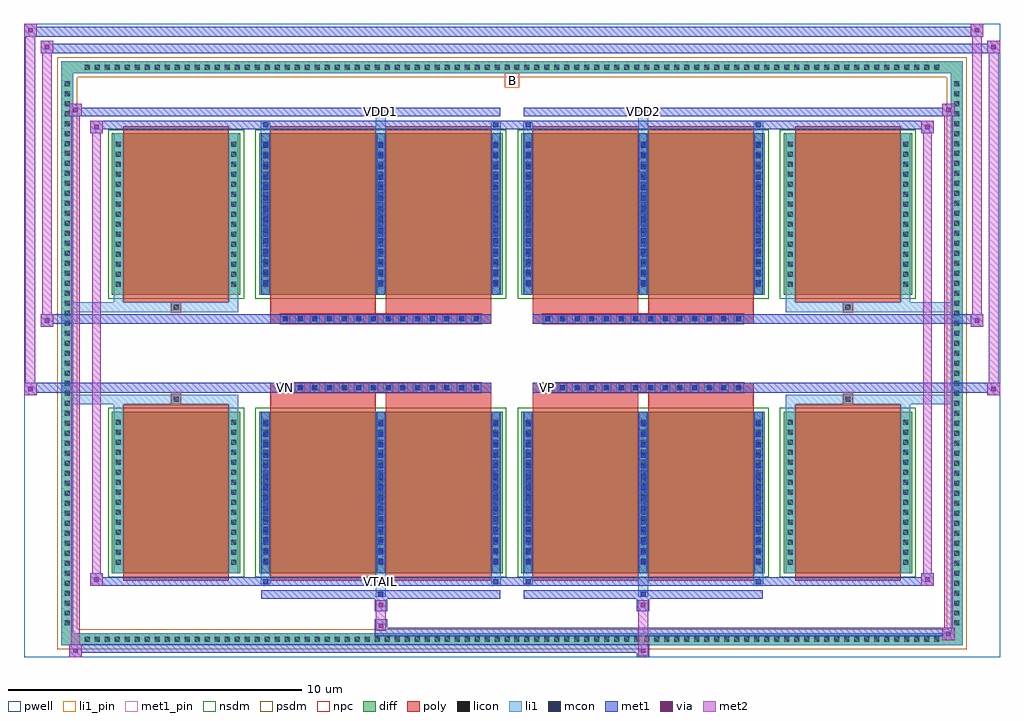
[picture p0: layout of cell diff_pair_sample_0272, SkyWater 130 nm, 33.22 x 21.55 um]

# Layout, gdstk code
import gdstk
lib = gdstk.Library(unit=1e-6, precision=5e-09)
def R(c, l, rs):  # rectangles x0, y0, x1, y1
    for r in rs: c.add(gdstk.rectangle(r[:2], r[2:], *l))
def A(c, l, x, y, w, h, nx, ny, dx, dy):  # array of equal rectangles
    R(c, l, [(x+i*dx, y+j*dy, x+i*dx+w, y+j*dy+h) for i in range(nx) for j in range(ny)])
def P(c, l, *ps):  # polygons
    for p in ps: c.add(gdstk.Polygon(p, *l))
pwell = (64, 44)
diff = (65, 20)
poly = (66, 20)
licon = (66, 44)
li1_pin = (67, 16)
li1 = (67, 20)
mcon = (67, 44)
met1_pin = (68, 16)
met1 = (68, 20)
via = (68, 44)
met2 = (69, 20)
nsdm = (93, 44)
psdm = (94, 20)
npc = (95, 20)

diff_pair_sample_0272 = lib.new_cell('diff_pair_sample_0272')
R(diff_pair_sample_0272, pwell, [(-16.61,-10.34,16.61,11.21), (-13.93,-8.53,-0.01,-0.805), (0.01,-8.53,13.93,-0.805), (-13.93,0.805,-0.01,8.53), (0.01,0.805,13.93,8.53)])
A(diff_pair_sample_0272, diff, -14.655, -9.94, 0.41, 0.41, 86, 2, 0.34, 19.47)
A(diff_pair_sample_0272, diff, -15.34, -9.385, 0.41, 0.41, 1, 55, 0, 0.34)
A(diff_pair_sample_0272, diff, 14.93, -9.385, 0.41, 0.41, 1, 55, 0, 0.34)
R(diff_pair_sample_0272, diff, [(-14.655,-9.94,14.655,-9.53), (-15.34,-9.385,-14.93,9.385), (14.93,-9.385,15.34,9.385), (-13.62,-7.485,-9.25,-1.985), (-8.61,-7.485,-0.32,-1.985), (0.32,-7.485,8.61,-1.985), (9.25,-7.485,13.62,-1.985), (-13.62,1.985,-9.25,7.485), (-8.61,1.985,-0.32,7.485), (0.32,1.985,8.61,7.485), (9.25,1.985,13.62,7.485), (-14.655,9.53,14.655,9.94)])
P(diff_pair_sample_0272, diff, [(15.34,9.94),(-15.34,9.94),(-15.34,-9.53),(-14.93,-9.53),(-14.93,9.53),(14.93,9.53),(14.93,-9.53),(-14.93,-9.53),(-15.34,-9.53),(-15.34,-9.94),(15.34,-9.94)])
A(diff_pair_sample_0272, poly, -7.88, -1.335, 0.33, 0.33, 14, 2, 0.5, 2.34)
A(diff_pair_sample_0272, poly, 1.05, -1.335, 0.33, 0.33, 14, 2, 0.5, 2.34)
R(diff_pair_sample_0272, poly, [(-13.23,-7.735,-9.64,-1.735), (-8.22,-7.735,-4.63,-1.735), (-4.3,-7.735,-0.71,-1.735), (0.71,-7.735,4.3,-1.735), (4.63,-7.735,8.22,-1.735), (9.64,-7.735,13.23,-1.735), (-11.6,-1.735,-11.27,-1.405), (-11.6,-1.735,-11.27,-1.405), (-8.22,-1.735,-4.63,-1.335), (-4.3,-1.735,-0.71,-1.335), (0.71,-1.735,4.3,-1.335), (4.63,-1.735,8.22,-1.335), (11.27,-1.735,11.6,-1.405), (11.27,-1.735,11.6,-1.405), (-8.22,-1.335,-0.71,-1.005), (0.71,-1.335,8.22,-1.005), (-8.22,1.005,-0.71,1.335), (0.71,1.005,8.22,1.335), (-8.22,1.335,-4.63,1.735), (-4.3,1.335,-0.71,1.735), (0.71,1.335,4.3,1.735), (4.63,1.335,8.22,1.735), (-11.6,1.405,-11.27,1.735), (-11.6,1.405,-11.27,1.735), (11.27,1.405,11.6,1.735), (11.27,1.405,11.6,1.735), (-13.23,1.735,-9.64,7.735), (-8.22,1.735,-4.63,7.735), (-4.3,1.735,-0.71,7.735), (0.71,1.735,4.3,7.735), (4.63,1.735,8.22,7.735), (9.64,1.735,13.23,7.735)])
A(diff_pair_sample_0272, licon, -14.535, -9.82, 0.17, 0.17, 86, 2, 0.34, 19.47)
A(diff_pair_sample_0272, licon, -15.22, -9.265, 0.17, 0.17, 1, 55, 0, 0.34)
A(diff_pair_sample_0272, licon, 15.05, -9.265, 0.17, 0.17, 1, 55, 0, 0.34)
A(diff_pair_sample_0272, licon, -13.48, -7.2, 0.17, 0.17, 1, 15, 0, 0.34)
A(diff_pair_sample_0272, licon, -9.56, -7.2, 0.17, 0.17, 1, 15, 0, 0.34)
A(diff_pair_sample_0272, licon, -8.47, -7.2, 0.17, 0.17, 3, 15, 3.92, 0.34)
A(diff_pair_sample_0272, licon, 0.46, -7.2, 0.17, 0.17, 3, 15, 3.92, 0.34)
A(diff_pair_sample_0272, licon, 9.39, -7.2, 0.17, 0.17, 1, 15, 0, 0.34)
A(diff_pair_sample_0272, licon, 13.31, -7.2, 0.17, 0.17, 1, 15, 0, 0.34)
A(diff_pair_sample_0272, licon, -7.8, -1.255, 0.17, 0.17, 14, 2, 0.5, 2.34)
A(diff_pair_sample_0272, licon, 1.13, -1.255, 0.17, 0.17, 14, 2, 0.5, 2.34)
A(diff_pair_sample_0272, licon, -13.48, 2.27, 0.17, 0.17, 1, 15, 0, 0.34)
A(diff_pair_sample_0272, licon, -9.56, 2.27, 0.17, 0.17, 1, 15, 0, 0.34)
A(diff_pair_sample_0272, licon, -8.47, 2.27, 0.17, 0.17, 3, 15, 3.92, 0.34)
A(diff_pair_sample_0272, licon, 0.46, 2.27, 0.17, 0.17, 3, 15, 3.92, 0.34)
A(diff_pair_sample_0272, licon, 9.39, 2.27, 0.17, 0.17, 1, 15, 0, 0.34)
A(diff_pair_sample_0272, licon, 13.31, 2.27, 0.17, 0.17, 1, 15, 0, 0.34)
R(diff_pair_sample_0272, licon, [(-11.52,-1.655,-11.35,-1.485), (11.35,-1.655,11.52,-1.485), (-11.52,1.485,-11.35,1.655), (11.35,1.485,11.52,1.655)])
R(diff_pair_sample_0272, li1_pin, [(-0.25,9.03,0.25,9.53)])
A(diff_pair_sample_0272, li1, -14.615, -9.9, 0.33, 0.33, 86, 2, 0.34, 19.47)
A(diff_pair_sample_0272, li1, -15.3, -9.345, 0.33, 0.33, 1, 55, 0, 0.34)
A(diff_pair_sample_0272, li1, 14.97, -9.345, 0.33, 0.33, 1, 55, 0, 0.34)
A(diff_pair_sample_0272, li1, -8.55, -7.485, 0.33, 5.5, 3, 2, 3.92, 9.47)
A(diff_pair_sample_0272, li1, 0.38, -7.485, 0.33, 5.5, 3, 2, 3.92, 9.47)
A(diff_pair_sample_0272, li1, -13.56, -7.28, 0.33, 0.33, 1, 15, 0, 0.34)
A(diff_pair_sample_0272, li1, -9.64, -7.28, 0.33, 0.33, 1, 15, 0, 0.34)
A(diff_pair_sample_0272, li1, -8.55, -7.28, 0.33, 0.33, 3, 15, 3.92, 0.34)
A(diff_pair_sample_0272, li1, 0.38, -7.28, 0.33, 0.33, 3, 15, 3.92, 0.34)
A(diff_pair_sample_0272, li1, 9.31, -7.28, 0.33, 0.33, 1, 15, 0, 0.34)
A(diff_pair_sample_0272, li1, 13.23, -7.28, 0.33, 0.33, 1, 15, 0, 0.34)
A(diff_pair_sample_0272, li1, -8.47, -7.16, 0.17, 0.17, 3, 14, 3.92, 0.36)
A(diff_pair_sample_0272, li1, -8.47, -7.16, 0.17, 4.85, 3, 2, 3.92, 9.47)
A(diff_pair_sample_0272, li1, 0.46, -7.16, 0.17, 0.17, 3, 14, 3.92, 0.36)
A(diff_pair_sample_0272, li1, 0.46, -7.16, 0.17, 4.85, 3, 2, 3.92, 9.47)
A(diff_pair_sample_0272, li1, -7.88, -1.335, 0.33, 0.33, 14, 2, 0.5, 2.34)
A(diff_pair_sample_0272, li1, 1.05, -1.335, 0.33, 0.33, 14, 2, 0.5, 2.34)
A(diff_pair_sample_0272, li1, -13.56, 2.19, 0.33, 0.33, 1, 15, 0, 0.34)
A(diff_pair_sample_0272, li1, -9.64, 2.19, 0.33, 0.33, 1, 15, 0, 0.34)
A(diff_pair_sample_0272, li1, -8.55, 2.19, 0.33, 0.33, 3, 15, 3.92, 0.34)
A(diff_pair_sample_0272, li1, 0.38, 2.19, 0.33, 0.33, 3, 15, 3.92, 0.34)
A(diff_pair_sample_0272, li1, 9.31, 2.19, 0.33, 0.33, 1, 15, 0, 0.34)
A(diff_pair_sample_0272, li1, 13.23, 2.19, 0.33, 0.33, 1, 15, 0, 0.34)
A(diff_pair_sample_0272, li1, -8.47, 2.31, 0.17, 0.17, 3, 14, 3.92, 0.36)
A(diff_pair_sample_0272, li1, 0.46, 2.31, 0.17, 0.17, 3, 14, 3.92, 0.36)
R(diff_pair_sample_0272, li1, [(-15.34,-9.94,-14.93,-9.53), (-15.34,-9.94,-14.93,-9.53), (-14.93,-9.94,14.93,-9.53), (14.93,-9.94,15.34,-9.53), (14.93,-9.94,15.34,-9.53), (-15.34,-9.53,-14.93,9.53), (14.93,-9.53,15.34,9.53), (-4.63,-8.29,-4.3,-7.485), (-4.55,-8.29,-4.38,-8.12), (4.3,-8.29,4.63,-7.485), (4.38,-8.29,4.55,-8.12), (-8.55,-7.86,-8.22,-7.485), (-8.47,-7.86,-8.3,-7.69), (-0.71,-7.86,-0.38,-7.485), (-0.63,-7.86,-0.46,-7.69), (0.38,-7.86,0.71,-7.485), (0.46,-7.86,0.63,-7.69), (8.22,-7.86,8.55,-7.485), (8.3,-7.86,8.47,-7.69), (-13.56,-7.485,-13.23,-1.985), (-9.64,-7.485,-9.31,-1.985), (9.31,-7.485,9.64,-1.985), (13.23,-7.485,13.56,-1.985), (-13.56,-1.985,-13.23,-1.405), (-9.64,-1.985,-9.31,-1.405), (9.31,-1.985,9.64,-1.405), (13.23,-1.985,13.56,-1.405), (-15.34,-1.735,-11.6,-1.405), (-13.56,-1.735,-11.6,-1.405), (-11.6,-1.735,-11.27,-1.405), (-11.27,-1.735,-9.31,-1.405), (9.31,-1.735,11.27,-1.405), (11.27,-1.735,11.6,-1.405), (11.27,-1.735,15.34,-1.405), (11.6,-1.735,13.56,-1.405), (-15.34,1.405,-11.6,1.735), (-13.56,1.405,-11.6,1.735), (-13.56,1.405,-13.23,1.985), (-11.6,1.405,-11.27,1.735), (-11.27,1.405,-9.31,1.735), (-9.64,1.405,-9.31,1.985), (9.31,1.405,11.27,1.735), (9.31,1.405,9.64,1.985), (11.27,1.405,11.6,1.735), (11.27,1.405,15.34,1.735), (11.6,1.405,13.56,1.735), (13.23,1.405,13.56,1.985), (-13.56,1.985,-13.23,7.485), (-9.64,1.985,-9.31,7.485), (9.31,1.985,9.64,7.485), (13.23,1.985,13.56,7.485), (-8.55,7.485,-8.22,7.86), (-4.63,7.485,-4.3,8.29), (-0.71,7.485,-0.38,7.86), (0.38,7.485,0.71,7.86), (4.3,7.485,4.63,8.29), (8.22,7.485,8.55,7.86), (-8.47,7.69,-8.3,7.86), (-0.63,7.69,-0.46,7.86), (0.46,7.69,0.63,7.86), (8.3,7.69,8.47,7.86), (-4.55,8.12,-4.38,8.29), (4.38,8.12,4.55,8.29), (-15.34,9.53,-14.93,9.94), (-15.34,9.53,-14.93,9.94), (-14.93,9.53,14.93,9.94), (14.93,9.53,15.34,9.94), (14.93,9.53,15.34,9.94)])
A(diff_pair_sample_0272, mcon, -8.47, -7.16, 0.17, 0.17, 3, 14, 3.92, 0.36)
A(diff_pair_sample_0272, mcon, 0.46, -7.16, 0.17, 0.17, 3, 14, 3.92, 0.36)
A(diff_pair_sample_0272, mcon, -7.8, -1.255, 0.17, 0.17, 14, 2, 0.5, 2.34)
A(diff_pair_sample_0272, mcon, 1.13, -1.255, 0.17, 0.17, 14, 2, 0.5, 2.34)
A(diff_pair_sample_0272, mcon, -8.47, 2.31, 0.17, 0.17, 3, 14, 3.92, 0.36)
A(diff_pair_sample_0272, mcon, 0.46, 2.31, 0.17, 0.17, 3, 14, 3.92, 0.36)
R(diff_pair_sample_0272, mcon, [(-4.55,-8.29,-4.38,-8.12), (4.38,-8.29,4.55,-8.12), (-8.47,-7.86,-8.3,-7.69), (-0.63,-7.86,-0.46,-7.69), (0.46,-7.86,0.63,-7.69), (8.3,-7.86,8.47,-7.69), (-8.47,7.69,-8.3,7.86), (-0.63,7.69,-0.46,7.86), (0.46,7.69,0.63,7.86), (8.3,7.69,8.47,7.86), (-4.55,8.12,-4.38,8.29), (4.38,8.12,4.55,8.29)])
R(diff_pair_sample_0272, met1_pin, [(-4.6,-7.9,-4.33,-7.63), (-7.85,-1.295,-7.58,-1.025), (1.08,-1.295,1.35,-1.025), (-4.6,8.08,-4.33,8.35), (4.33,8.08,4.6,8.35)])
A(diff_pair_sample_0272, met1, -8.53, -7.485, 0.29, 5.5, 3, 2, 3.92, 9.47)
A(diff_pair_sample_0272, met1, 0.4, -7.485, 0.29, 5.5, 3, 2, 3.92, 9.47)
A(diff_pair_sample_0272, met1, -8.53, -7.22, 0.29, 0.29, 3, 14, 3.92, 0.36)
A(diff_pair_sample_0272, met1, 0.4, -7.22, 0.29, 0.29, 3, 14, 3.92, 0.36)
A(diff_pair_sample_0272, met1, -7.86, -1.315, 0.29, 0.29, 14, 2, 0.5, 2.34)
A(diff_pair_sample_0272, met1, 1.07, -1.315, 0.29, 0.29, 14, 2, 0.5, 2.34)
A(diff_pair_sample_0272, met1, -8.53, 2.25, 0.29, 0.29, 3, 14, 3.92, 0.36)
A(diff_pair_sample_0272, met1, 0.4, 2.25, 0.29, 0.29, 3, 14, 3.92, 0.36)
R(diff_pair_sample_0272, met1, [(-15.07,-10.34,-14.64,-9.91), (4.25,-10.34,4.68,-9.91), (-15.07,-10.2,4.68,-9.91), (14.64,-9.77,15.07,-9.34), (-4.68,-9.63,15.07,-9.34), (-4.68,-9.49,-4.25,-9.06), (-4.68,-8.78,-4.25,-8.35), (4.25,-8.78,4.68,-8.35), (-8.53,-8.35,-0.4,-8.06), (-4.61,-8.35,-4.32,-8.06), (0.4,-8.35,8.53,-8.06), (4.32,-8.35,4.61,-8.06), (-14.36,-7.92,-13.93,-7.49), (-14.36,-7.92,-8.53,-7.63), (-8.53,-7.92,-8.24,-7.63), (-8.53,-7.92,-0.4,-7.63), (-0.69,-7.92,-0.4,-7.63), (-0.4,-7.92,0.4,-7.63), (0.4,-7.92,0.69,-7.63), (0.4,-7.92,8.53,-7.63), (8.24,-7.92,8.53,-7.63), (8.53,-7.92,14.36,-7.63), (13.93,-7.92,14.36,-7.49), (-16.61,-1.435,-16.18,-1.005), (16.18,-1.435,16.61,-1.005), (-16.61,-1.335,-0.71,-1.005), (-8.22,-1.335,-0.71,-1.005), (0.71,-1.335,8.22,-1.005), (0.71,-1.335,16.61,-1.005), (-16.04,0.905,-15.61,1.335), (15.61,0.905,16.04,1.335), (-16.04,1.005,-8.22,1.335), (-8.22,1.005,-0.71,1.335), (0.71,1.005,8.22,1.335), (8.22,1.005,16.04,1.335), (-14.36,7.49,-13.93,7.92), (13.93,7.49,14.36,7.92), (-14.36,7.63,-8.53,7.92), (-8.53,7.63,-8.24,7.92), (-8.53,7.63,-0.4,7.92), (-0.69,7.63,-0.4,7.92), (-0.4,7.63,0.4,7.92), (0.4,7.63,0.69,7.92), (0.4,7.63,8.53,7.92), (8.24,7.63,8.53,7.92), (8.53,7.63,14.36,7.92), (-15.07,8.06,-14.64,8.49), (-15.07,8.06,-8.53,8.35), (-8.53,8.06,-0.4,8.35), (-4.61,8.06,-4.32,8.35), (0.4,8.06,8.53,8.35), (4.32,8.06,4.61,8.35), (8.53,8.06,15.07,8.35), (14.64,8.06,15.07,8.49), (-16.04,10.21,-15.61,10.64), (-16.04,10.21,-13.93,10.54), (-13.93,10.21,13.93,10.54), (13.93,10.21,16.61,10.54), (16.18,10.21,16.61,10.64), (-16.61,10.78,-16.18,11.21), (-16.61,10.78,-13.93,11.11), (-13.93,10.78,13.93,11.11), (13.93,10.78,16.04,11.11), (15.61,10.78,16.04,11.21)])
R(diff_pair_sample_0272, via, [(-14.93,-10.2,-14.78,-10.05), (4.39,-10.2,4.54,-10.05), (14.78,-9.63,14.93,-9.48), (-4.54,-9.35,-4.39,-9.2), (-4.54,-8.64,-4.39,-8.49), (4.39,-8.64,4.54,-8.49), (-14.22,-7.78,-14.07,-7.63), (14.07,-7.78,14.22,-7.63), (-16.47,-1.295,-16.32,-1.145), (16.32,-1.295,16.47,-1.145), (-15.9,1.045,-15.75,1.195), (15.75,1.045,15.9,1.195), (-14.22,7.63,-14.07,7.78), (14.07,7.63,14.22,7.78), (-14.93,8.2,-14.78,8.35), (14.78,8.2,14.93,8.35), (-15.9,10.35,-15.75,10.5), (16.32,10.35,16.47,10.5), (-16.47,10.92,-16.32,11.07), (15.75,10.92,15.9,11.07)])
R(diff_pair_sample_0272, met2, [(-15.07,-10.34,-14.64,-9.91), (-15,-10.34,-14.71,8.49), (-14.71,-10.34,-14.64,-9.91), (-15.02,-10.29,-14.69,-9.96), (4.3,-10.29,4.63,-9.96), (4.3,-9.96,4.63,-8.73), (14.64,-9.77,15.07,-9.34), (14.71,-9.77,15,8.49), (15,-9.77,15.07,-9.34), (14.69,-9.72,15.02,-9.39), (-4.63,-9.44,-4.3,-9.11), (-4.63,-9.11,-4.3,-8.73), (-4.63,-8.73,-4.3,-8.4), (4.3,-8.73,4.63,-8.4), (-14.36,-7.92,-13.93,-7.49), (-14.29,-7.92,-14,7.92), (-14,-7.92,-13.93,-7.49), (13.93,-7.92,14.36,-7.49), (14,-7.92,14.29,7.92), (14.29,-7.92,14.36,-7.49), (-14.31,-7.87,-13.98,-7.54), (13.98,-7.87,14.31,-7.54), (-16.61,-1.435,-16.18,-1.005), (-16.56,-1.435,-16.23,11.21), (-16.23,-1.435,-16.18,-1.005), (16.18,-1.435,16.61,-1.005), (16.23,-1.435,16.56,10.64), (16.56,-1.435,16.61,-1.005), (-16.56,-1.385,-16.23,-1.055), (16.23,-1.385,16.56,-1.055), (-16.04,0.905,-15.61,1.335), (-15.99,0.905,-15.66,10.64), (-15.66,0.905,-15.61,1.335), (15.61,0.905,16.04,1.335), (15.66,0.905,15.99,11.21), (15.99,0.905,16.04,1.335), (-15.99,0.955,-15.66,1.285), (15.66,0.955,15.99,1.285), (-14.36,7.49,-13.93,7.92), (-14,7.49,-13.93,7.92), (13.93,7.49,14.36,7.92), (14.29,7.49,14.36,7.92), (-14.31,7.54,-13.98,7.87), (13.98,7.54,14.31,7.87), (-15.07,8.06,-14.64,8.49), (-14.71,8.06,-14.64,8.49), (14.64,8.06,15.07,8.49), (15,8.06,15.07,8.49), (-15.02,8.11,-14.69,8.44), (14.69,8.11,15.02,8.44), (-16.04,10.21,-15.61,10.64), (-15.66,10.21,-15.61,10.64), (16.18,10.21,16.61,10.64), (16.56,10.21,16.61,10.64), (-15.99,10.26,-15.66,10.59), (16.23,10.26,16.56,10.59), (-16.61,10.78,-16.18,11.21), (-16.23,10.78,-16.18,11.21), (15.61,10.78,16.04,11.21), (15.99,10.78,16.04,11.21), (-16.56,10.83,-16.23,11.16), (15.66,10.83,15.99,11.16)])
R(diff_pair_sample_0272, nsdm, [(-13.75,-7.615,-9.12,-1.855), (-8.74,-7.615,-0.19,-1.855), (0.19,-7.615,8.74,-1.855), (9.12,-7.615,13.75,-1.855), (-13.75,1.855,-9.12,7.615), (-8.74,1.855,-0.19,7.615), (0.19,1.855,8.74,7.615), (9.12,1.855,13.75,7.615)])
P(diff_pair_sample_0272, psdm, [(15.47,10.07),(-15.47,10.07),(-15.47,-9.4),(-14.8,-9.4),(-14.8,9.4),(14.8,9.4),(14.8,-9.4),(-14.8,-9.4),(-15.47,-9.4),(-15.47,-10.07),(15.47,-10.07)])
A(diff_pair_sample_0272, npc, -7.9, -1.355, 0.37, 0.37, 14, 2, 0.5, 2.34)
A(diff_pair_sample_0272, npc, 1.03, -1.355, 0.37, 0.37, 14, 2, 0.5, 2.34)
R(diff_pair_sample_0272, npc, [(-11.62,-1.755,-11.25,-1.385), (11.25,-1.755,11.62,-1.385), (-7.9,-1.355,-7.03,-0.985), (-7.9,-1.355,-7.03,-0.985), (-7.4,-1.355,-6.53,-0.985), (-7.4,-1.355,-6.53,-0.985), (-6.9,-1.355,-6.03,-0.985), (-6.9,-1.355,-6.03,-0.985), (-6.4,-1.355,-5.53,-0.985), (-6.4,-1.355,-5.53,-0.985), (-5.9,-1.355,-5.03,-0.985), (-5.9,-1.355,-5.03,-0.985), (-5.4,-1.355,-4.53,-0.985), (-5.4,-1.355,-4.53,-0.985), (-4.9,-1.355,-4.03,-0.985), (-4.9,-1.355,-4.03,-0.985), (-4.4,-1.355,-3.53,-0.985), (-4.4,-1.355,-3.53,-0.985), (-3.9,-1.355,-3.03,-0.985), (-3.9,-1.355,-3.03,-0.985), (-3.4,-1.355,-2.53,-0.985), (-3.4,-1.355,-2.53,-0.985), (-2.9,-1.355,-2.03,-0.985), (-2.9,-1.355,-2.03,-0.985), (-2.4,-1.355,-1.53,-0.985), (-2.4,-1.355,-1.53,-0.985), (-1.9,-1.355,-1.03,-0.985), (-1.9,-1.355,-1.03,-0.985), (1.03,-1.355,1.9,-0.985), (1.03,-1.355,1.9,-0.985), (1.53,-1.355,2.4,-0.985), (1.53,-1.355,2.4,-0.985), (2.03,-1.355,2.9,-0.985), (2.03,-1.355,2.9,-0.985), (2.53,-1.355,3.4,-0.985), (2.53,-1.355,3.4,-0.985), (3.03,-1.355,3.9,-0.985), (3.03,-1.355,3.9,-0.985), (3.53,-1.355,4.4,-0.985), (3.53,-1.355,4.4,-0.985), (4.03,-1.355,4.9,-0.985), (4.03,-1.355,4.9,-0.985), (4.53,-1.355,5.4,-0.985), (4.53,-1.355,5.4,-0.985), (5.03,-1.355,5.9,-0.985), (5.03,-1.355,5.9,-0.985), (5.53,-1.355,6.4,-0.985), (5.53,-1.355,6.4,-0.985), (6.03,-1.355,6.9,-0.985), (6.03,-1.355,6.9,-0.985), (6.53,-1.355,7.4,-0.985), (6.53,-1.355,7.4,-0.985), (7.03,-1.355,7.9,-0.985), (7.03,-1.355,7.9,-0.985), (-7.9,0.985,-7.03,1.355), (-7.9,0.985,-7.03,1.355), (-7.4,0.985,-6.53,1.355), (-7.4,0.985,-6.53,1.355), (-6.9,0.985,-6.03,1.355), (-6.9,0.985,-6.03,1.355), (-6.4,0.985,-5.53,1.355), (-6.4,0.985,-5.53,1.355), (-5.9,0.985,-5.03,1.355), (-5.9,0.985,-5.03,1.355), (-5.4,0.985,-4.53,1.355), (-5.4,0.985,-4.53,1.355), (-4.9,0.985,-4.03,1.355), (-4.9,0.985,-4.03,1.355), (-4.4,0.985,-3.53,1.355), (-4.4,0.985,-3.53,1.355), (-3.9,0.985,-3.03,1.355), (-3.9,0.985,-3.03,1.355), (-3.4,0.985,-2.53,1.355), (-3.4,0.985,-2.53,1.355), (-2.9,0.985,-2.03,1.355), (-2.9,0.985,-2.03,1.355), (-2.4,0.985,-1.53,1.355), (-2.4,0.985,-1.53,1.355), (-1.9,0.985,-1.03,1.355), (-1.9,0.985,-1.03,1.355), (1.03,0.985,1.9,1.355), (1.03,0.985,1.9,1.355), (1.53,0.985,2.4,1.355), (1.53,0.985,2.4,1.355), (2.03,0.985,2.9,1.355), (2.03,0.985,2.9,1.355), (2.53,0.985,3.4,1.355), (2.53,0.985,3.4,1.355), (3.03,0.985,3.9,1.355), (3.03,0.985,3.9,1.355), (3.53,0.985,4.4,1.355), (3.53,0.985,4.4,1.355), (4.03,0.985,4.9,1.355), (4.03,0.985,4.9,1.355), (4.53,0.985,5.4,1.355), (4.53,0.985,5.4,1.355), (5.03,0.985,5.9,1.355), (5.03,0.985,5.9,1.355), (5.53,0.985,6.4,1.355), (5.53,0.985,6.4,1.355), (6.03,0.985,6.9,1.355), (6.03,0.985,6.9,1.355), (6.53,0.985,7.4,1.355), (6.53,0.985,7.4,1.355), (7.03,0.985,7.9,1.355), (7.03,0.985,7.9,1.355), (-11.62,1.385,-11.25,1.755), (11.25,1.385,11.62,1.755)])
diff_pair_sample_0272.add(gdstk.Label('VTAIL', (-4.465,-7.765), layer=68, texttype=5))
diff_pair_sample_0272.add(gdstk.Label('VN', (-7.715,-1.16), layer=68, texttype=5))
diff_pair_sample_0272.add(gdstk.Label('VP', (1.215,-1.16), layer=68, texttype=5))
diff_pair_sample_0272.add(gdstk.Label('B', (0,9.28), layer=67, texttype=5))
diff_pair_sample_0272.add(gdstk.Label('VDD2', (4.465,8.215), layer=68, texttype=5))
diff_pair_sample_0272.add(gdstk.Label('VDD1', (-4.465,8.215), layer=68, texttype=5))

lib.write_gds('diff_pair_sample_0272.gds')
